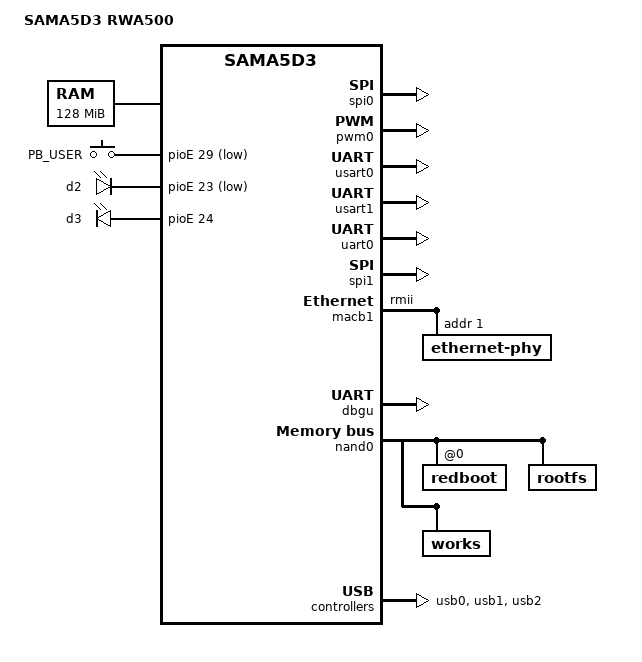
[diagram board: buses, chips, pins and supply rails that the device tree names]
/*
 * at91-sama5d3_xplained.dts - Device Tree file for the SAMA5D3 Xplained board
 *
 *  Copyright (C) 2014 Atmel,
 *		  2014 Nicolas Ferre <nicolas.ferre@atmel.com>
 *
 * Licensed under GPLv2 or later.
 */
/dts-v1/;
#include "sama5d3.dtsi"
#include "sama5d3_emac.dtsi"
#include "sama5d3_mci2.dtsi"
#include "sama5d3_tcb1.dtsi"
#include "sama5d3_uart.dtsi"

/ {
	model = "SAMA5D3 RWA500";
	compatible = "atmel,sama5d3-xplained", "atmel,sama5d3", "atmel,sama5";

	chosen {
		stdout-path = "serial0:115200n8";
	};

	memory {
		reg = <0x20000000 0x08000000>;
	};

	clocks {
		slow_xtal {
			clock-frequency = <32768>;
		};

		main_xtal {
			clock-frequency = <12000000>;
		};
	};

	ahb {
		apb {
			spi0: spi@f0004000 {
				cs-gpios = <&pioD 13 0>, <0>, <0>, <&pioD 16 0>;
				status = "okay";
			};

			pwm0: pwm@f002c000 {
				pinctrl-names = "default";
				pinctrl-0 = <&pinctrl_pwm0_pwmh0_0 &pinctrl_pwm0_pwmh1_0>;
				status = "okay";
			};

			usart0: serial@f001c000 {
				status = "okay";
			};

			usart1: serial@f0020000 {
				pinctrl-0 = <&pinctrl_usart1 &pinctrl_usart1_rts_cts>;
				status = "okay";
			};

			uart0: serial@f0024000 {
				status = "okay";
			};

			spi1: spi@f8008000 {
				cs-gpios = <&pioC 25 0>;
				status = "okay";
			};

			macb1: ethernet@f802c000 {
				phy-mode = "rmii";
				#address-cells = <1>;
				#size-cells = <0>;
				status = "okay";

				ethernet-phy@1 {
					reg = <0x1>;
				};
			};

			dbgu: serial@ffffee00 {
				status = "okay";
			};

			pinctrl@fffff200 {
				board {
					pinctrl_i2c0_pu: i2c0_pu {
						atmel,pins =
							<AT91_PIOA 30 AT91_PERIPH_A AT91_PINCTRL_PULL_UP>,
							<AT91_PIOA 31 AT91_PERIPH_A AT91_PINCTRL_PULL_UP>;
					};

					pinctrl_i2c2_pu: i2c2_pu {
						atmel,pins =
							<AT91_PIOA 18 AT91_PERIPH_B AT91_PINCTRL_PULL_UP>,
							<AT91_PIOA 19 AT91_PERIPH_B AT91_PINCTRL_PULL_UP>;
					};

					pinctrl_key_gpio: key_gpio_0 {
						atmel,pins =
							<AT91_PIOE 29 AT91_PERIPH_GPIO AT91_PINCTRL_PULL_UP_DEGLITCH>;
					};

					pinctrl_usba_vbus: usba_vbus {
						atmel,pins =
							<AT91_PIOE 9 AT91_PERIPH_GPIO AT91_PINCTRL_DEGLITCH>;	/* PE9, conflicts with A9 */
					};
				};
			};
		};

		nand0: nand@60000000 {
			nand-bus-width = <8>;
			nand-ecc-mode = "hw";
			atmel,has-pmecc;
			atmel,pmecc-cap = <4>;
			atmel,pmecc-sector-size = <512>;
			nand-on-flash-bbt;
			status = "okay";

			redboot@0 {
				label = "redboot";
				reg = <0x0 0x400000>;
			};

			rootfs@400000 {
				label = "rootfs";
				reg = <0x440000 0x01bc0000>;
			};

			works@2000000 {
				label = "works";
				reg = <0x2000000 0x05f00000>;
			};
		};

		usb0: gadget@00500000 {
			atmel,vbus-gpio = <&pioE 9 GPIO_ACTIVE_HIGH>;	/* PE9, conflicts with A9 */
			pinctrl-names = "default";
			pinctrl-0 = <&pinctrl_usba_vbus>;
			status = "okay";
		};

		usb1: ohci@00600000 {
			num-ports = <3>;
			atmel,vbus-gpio = <0
					   &pioE 3 GPIO_ACTIVE_LOW
					   &pioE 4 GPIO_ACTIVE_LOW
					  >;
			status = "okay";
		};

		usb2: ehci@00700000 {
			status = "okay";
		};
	};

	gpio_keys {
		compatible = "gpio-keys";

		pinctrl-names = "default";
		pinctrl-0 = <&pinctrl_key_gpio>;

		bp3 {
			label = "PB_USER";
			gpios = <&pioE 29 GPIO_ACTIVE_LOW>;
			linux,code = <0x104>;
			wakeup-source;
		};
	};

	leds {
		compatible = "gpio-leds";

		d2 {
			label = "d2";
			gpios = <&pioE 23 GPIO_ACTIVE_LOW>;	/* PE23, conflicts with A23, CTS2 */
			linux,default-trigger = "heartbeat";
		};

		d3 {
			label = "d3";
			gpios = <&pioE 24 GPIO_ACTIVE_HIGH>;
		};
	};
};
